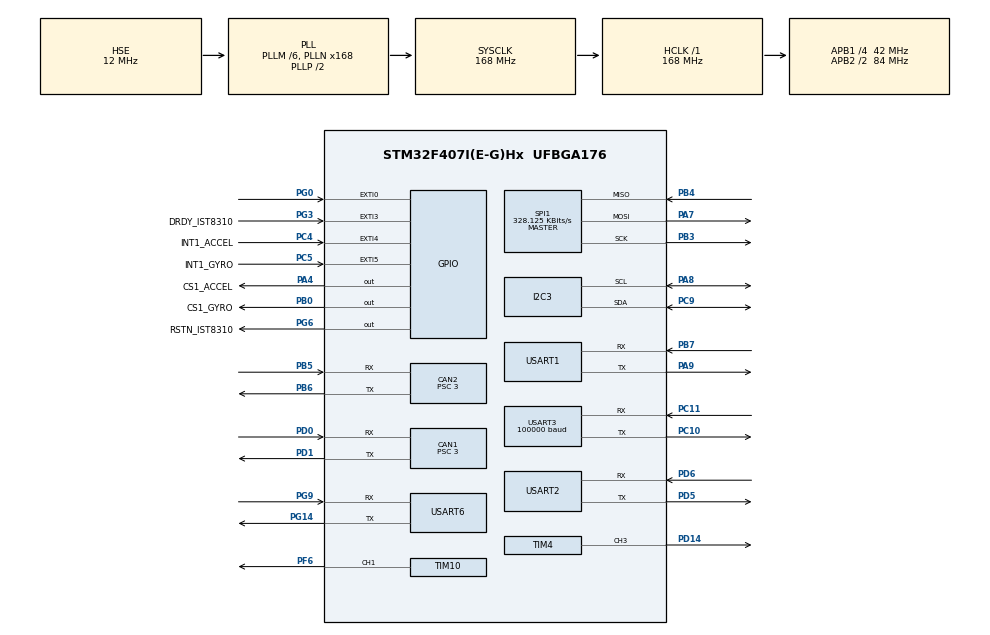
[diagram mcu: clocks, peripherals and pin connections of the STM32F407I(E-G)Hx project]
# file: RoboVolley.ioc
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CAN1.BS1=CAN_BS1_10TQ
CAN1.BS2=CAN_BS2_3TQ
CAN1.CalculateBaudRate=1000000
CAN1.CalculateTimeBit=1000
CAN1.CalculateTimeQuantum=71.42857142857143
CAN1.NART=ENABLE
CAN1.Prescaler=3
CAN1.SJW=CAN_SJW_3TQ
CAN1.TXFP=ENABLE
CAN2.BS1=CAN_BS1_10TQ
CAN2.BS2=CAN_BS2_3TQ
CAN2.CalculateBaudRate=1000000
CAN2.CalculateTimeBit=1000
CAN2.CalculateTimeQuantum=71.42857142857143
CAN2.Prescaler=3
CAN2.SJW=CAN_SJW_3TQ
Dma.Request0=USART3_RX
Dma.Request1=SPI1_RX
Dma.Request2=SPI1_TX
Dma.Request3=USART2_RX
Dma.Request4=USART2_TX
Dma.Request5=USART1_RX
Dma.Request6=USART6_RX
Dma.Request7=USART6_TX
Dma.Request8=USART1_TX
Dma.SPI1_RX.1.Direction=DMA_PERIPH_TO_MEMORY
Dma.SPI1_RX.1.FIFOMode=DMA_FIFOMODE_DISABLE
Dma.SPI1_RX.1.Instance=DMA2_Stream2
Dma.SPI1_RX.1.MemDataAlignment=DMA_MDATAALIGN_BYTE
Dma.SPI1_RX.1.MemInc=DMA_MINC_ENABLE
Dma.SPI1_RX.1.Mode=DMA_NORMAL
Dma.SPI1_RX.1.PeriphDataAlignment=DMA_PDATAALIGN_BYTE
Dma.SPI1_RX.1.PeriphInc=DMA_PINC_DISABLE
Dma.SPI1_RX.1.Priority=DMA_PRIORITY_VERY_HIGH
Dma.SPI1_TX.2.Direction=DMA_MEMORY_TO_PERIPH
Dma.SPI1_TX.2.FIFOMode=DMA_FIFOMODE_DISABLE
Dma.SPI1_TX.2.Instance=DMA2_Stream3
Dma.SPI1_TX.2.MemDataAlignment=DMA_MDATAALIGN_BYTE
Dma.SPI1_TX.2.MemInc=DMA_MINC_ENABLE
Dma.SPI1_TX.2.Mode=DMA_NORMAL
Dma.SPI1_TX.2.PeriphDataAlignment=DMA_PDATAALIGN_BYTE
Dma.SPI1_TX.2.PeriphInc=DMA_PINC_DISABLE
Dma.SPI1_TX.2.Priority=DMA_PRIORITY_HIGH
Dma.USART1_RX.5.Direction=DMA_PERIPH_TO_MEMORY
Dma.USART1_RX.5.FIFOMode=DMA_FIFOMODE_DISABLE
Dma.USART1_RX.5.Instance=DMA2_Stream5
Dma.USART1_RX.5.MemDataAlignment=DMA_MDATAALIGN_BYTE
Dma.USART1_RX.5.MemInc=DMA_MINC_ENABLE
Dma.USART1_RX.5.Mode=DMA_NORMAL
Dma.USART1_RX.5.PeriphDataAlignment=DMA_PDATAALIGN_BYTE
Dma.USART1_RX.5.PeriphInc=DMA_PINC_DISABLE
Dma.USART1_RX.5.Priority=DMA_PRIORITY_VERY_HIGH
Dma.USART1_TX.8.Direction=DMA_MEMORY_TO_PERIPH
Dma.USART1_TX.8.FIFOMode=DMA_FIFOMODE_DISABLE
Dma.USART1_TX.8.Instance=DMA2_Stream7
Dma.USART1_TX.8.MemDataAlignment=DMA_MDATAALIGN_BYTE
Dma.USART1_TX.8.MemInc=DMA_MINC_ENABLE
Dma.USART1_TX.8.Mode=DMA_NORMAL
Dma.USART1_TX.8.PeriphDataAlignment=DMA_PDATAALIGN_BYTE
Dma.USART1_TX.8.PeriphInc=DMA_PINC_DISABLE
Dma.USART1_TX.8.Priority=DMA_PRIORITY_VERY_HIGH
Dma.USART2_RX.3.Direction=DMA_PERIPH_TO_MEMORY
Dma.USART2_RX.3.FIFOMode=DMA_FIFOMODE_DISABLE
Dma.USART2_RX.3.Instance=DMA1_Stream5
Dma.USART2_RX.3.MemDataAlignment=DMA_MDATAALIGN_BYTE
Dma.USART2_RX.3.MemInc=DMA_MINC_ENABLE
Dma.USART2_RX.3.Mode=DMA_NORMAL
Dma.USART2_RX.3.PeriphDataAlignment=DMA_PDATAALIGN_BYTE
Dma.USART2_RX.3.PeriphInc=DMA_PINC_DISABLE
Dma.USART2_RX.3.Priority=DMA_PRIORITY_VERY_HIGH
Dma.USART2_TX.4.Direction=DMA_MEMORY_TO_PERIPH
Dma.USART2_TX.4.FIFOMode=DMA_FIFOMODE_DISABLE
Dma.USART2_TX.4.Instance=DMA1_Stream6
Dma.USART2_TX.4.MemDataAlignment=DMA_MDATAALIGN_BYTE
Dma.USART2_TX.4.MemInc=DMA_MINC_ENABLE
Dma.USART2_TX.4.Mode=DMA_CIRCULAR
Dma.USART2_TX.4.PeriphDataAlignment=DMA_PDATAALIGN_BYTE
Dma.USART2_TX.4.PeriphInc=DMA_PINC_DISABLE
Dma.USART2_TX.4.Priority=DMA_PRIORITY_VERY_HIGH
Dma.USART3_RX.0.Direction=DMA_PERIPH_TO_MEMORY
Dma.USART3_RX.0.FIFOMode=DMA_FIFOMODE_DISABLE
Dma.USART3_RX.0.Instance=DMA1_Stream1
Dma.USART3_RX.0.MemDataAlignment=DMA_MDATAALIGN_BYTE
Dma.USART3_RX.0.MemInc=DMA_MINC_ENABLE
Dma.USART3_RX.0.Mode=DMA_CIRCULAR
Dma.USART3_RX.0.PeriphDataAlignment=DMA_PDATAALIGN_BYTE
Dma.USART3_RX.0.PeriphInc=DMA_PINC_DISABLE
Dma.USART3_RX.0.Priority=DMA_PRIORITY_VERY_HIGH
Dma.USART6_RX.6.Direction=DMA_PERIPH_TO_MEMORY
Dma.USART6_RX.6.FIFOMode=DMA_FIFOMODE_DISABLE
Dma.USART6_RX.6.Instance=DMA2_Stream1
Dma.USART6_RX.6.MemDataAlignment=DMA_MDATAALIGN_BYTE
Dma.USART6_RX.6.MemInc=DMA_MINC_ENABLE
Dma.USART6_RX.6.Mode=DMA_NORMAL
Dma.USART6_RX.6.PeriphDataAlignment=DMA_PDATAALIGN_BYTE
Dma.USART6_RX.6.PeriphInc=DMA_PINC_DISABLE
Dma.USART6_RX.6.Priority=DMA_PRIORITY_VERY_HIGH
Dma.USART6_TX.7.Direction=DMA_MEMORY_TO_PERIPH
Dma.USART6_TX.7.FIFOMode=DMA_FIFOMODE_DISABLE
Dma.USART6_TX.7.Instance=DMA2_Stream6
Dma.USART6_TX.7.MemDataAlignment=DMA_MDATAALIGN_BYTE
Dma.USART6_TX.7.MemInc=DMA_MINC_ENABLE
Dma.USART6_TX.7.Mode=DMA_NORMAL
Dma.USART6_TX.7.PeriphDataAlignment=DMA_PDATAALIGN_BYTE
Dma.USART6_TX.7.PeriphInc=DMA_PINC_DISABLE
Dma.USART6_TX.7.Priority=DMA_PRIORITY_VERY_HIGH
FREERTOS.INCLUDE_xTaskGetHandle=1
FREERTOS.Tasks01=defaultTask,-3,128,StartDefaultTask,Default,NULL,Dynamic,NULL,NULL;Rcontrol,2,128,Buff_ReCf,Default,NULL,Dynamic,NULL,NULL;gimbalTask,1,128,gimbal,Default,NULL,Dynamic,NULL,NULL;chassisTask,0,128,chassis_task,As external,NULL,Dynamic,NULL,NULL;imuTask,3,256,INS_task,As external,NULL,Dynamic,NULL,NULL
I2C3.I2C_Mode=I2C_Fast
Mcu.Family=STM32F4
Mcu.Name=STM32F407I(E-G)Hx
Mcu.Package=UFBGA176
NVIC.CAN1_RX0_IRQn=true\:5\:0\:false\:false\:true\:true\:true\:true\:true
NVIC.CAN1_RX1_IRQn=true\:5\:0\:false\:false\:true\:true\:true\:true\:true
NVIC.CAN2_RX0_IRQn=true\:5\:0\:true\:false\:true\:true\:true\:true\:true
NVIC.DMA1_Stream1_IRQn=true\:5\:0\:false\:false\:true\:true\:false\:true\:true
NVIC.DMA1_Stream5_IRQn=true\:5\:0\:false\:false\:true\:true\:false\:true\:true
NVIC.DMA1_Stream6_IRQn=true\:5\:0\:false\:false\:true\:true\:false\:true\:true
NVIC.DMA2_Stream1_IRQn=true\:5\:0\:false\:false\:true\:true\:false\:true\:true
NVIC.DMA2_Stream2_IRQn=true\:5\:0\:false\:false\:true\:false\:false\:true\:true
NVIC.DMA2_Stream3_IRQn=true\:5\:0\:false\:false\:true\:true\:false\:true\:true
NVIC.DMA2_Stream5_IRQn=true\:5\:0\:false\:false\:true\:true\:false\:true\:true
NVIC.DMA2_Stream6_IRQn=true\:5\:0\:false\:false\:true\:true\:false\:true\:true
NVIC.DMA2_Stream7_IRQn=true\:5\:0\:false\:false\:true\:true\:false\:true\:true
NVIC.EXTI0_IRQn=true\:5\:0\:false\:false\:true\:true\:true\:true\:true
NVIC.EXTI4_IRQn=true\:5\:0\:true\:false\:true\:true\:true\:true\:true
NVIC.EXTI9_5_IRQn=true\:5\:0\:true\:false\:true\:true\:true\:true\:true
NVIC.PriorityGroup=NVIC_PRIORITYGROUP_4
NVIC.TIM6_DAC_IRQn=true\:15\:0\:false\:false\:true\:false\:false\:true\:true
NVIC.TimeBase=TIM6_DAC_IRQn
NVIC.TimeBaseIP=TIM6
NVIC.USART1_IRQn=true\:5\:0\:false\:false\:true\:true\:true\:true\:true
NVIC.USART2_IRQn=true\:5\:0\:false\:false\:true\:true\:true\:true\:true
NVIC.USART3_IRQn=true\:6\:0\:true\:false\:true\:true\:true\:true\:true
NVIC.USART6_IRQn=true\:5\:0\:false\:false\:true\:true\:true\:true\:true
PA13.Mode=Serial_Wire
PA13.Signal=SYS_JTMS-SWDIO
PA14.Mode=Serial_Wire
PA14.Signal=SYS_JTCK-SWCLK
PA4.GPIO_Label=CS1_ACCEL
PA4.GPIO_PuPd=GPIO_PULLUP
PA4.GPIO_Speed=GPIO_SPEED_FREQ_HIGH
PA4.PinState=GPIO_PIN_SET
PA4.Signal=GPIO_Output
PA7.GPIO_PuPd=GPIO_PULLUP
PA7.Mode=Full_Duplex_Master
PA7.Signal=SPI1_MOSI
PA8.GPIO_Pu=GPIO_PULLUP
PA8.Mode=I2C
PA8.Signal=I2C3_SCL
PA9.Mode=Asynchronous
PA9.Signal=USART1_TX
PB0.GPIO_Label=CS1_GYRO
PB0.GPIO_PuPd=GPIO_PULLUP
PB0.GPIO_Speed=GPIO_SPEED_FREQ_HIGH
PB0.PinState=GPIO_PIN_SET
PB0.Signal=GPIO_Output
PB3.GPIO_PuPd=GPIO_PULLUP
PB3.Mode=Full_Duplex_Master
PB3.Signal=SPI1_SCK
PB4.GPIO_PuPd=GPIO_PULLUP
PB4.Mode=Full_Duplex_Master
PB4.Signal=SPI1_MISO
PB5.Mode=CAN_Activate
PB5.Signal=CAN2_RX
PB6.Mode=CAN_Activate
PB6.Signal=CAN2_TX
PB7.Mode=Asynchronous
PB7.Signal=USART1_RX
PC10.Mode=Asynchronous
PC10.Signal=USART3_TX
PC11.Mode=Asynchronous
PC11.Signal=USART3_RX
PC4.GPIO_Label=INT1_ACCEL
PC4.GPIO_ModeDefaultEXTI=GPIO_MODE_IT_FALLING
PC4.GPIO_PuPd=GPIO_PULLUP
PC4.Signal=GPXTI4
PC5.GPIO_Label=INT1_GYRO
PC5.GPIO_ModeDefaultEXTI=GPIO_MODE_IT_FALLING
PC5.GPIO_PuPd=GPIO_PULLUP
PC5.Signal=GPXTI5
PC9.GPIO_Pu=GPIO_PULLUP
PC9.Mode=I2C
PC9.Signal=I2C3_SDA
PD0.Mode=CAN_Activate
PD0.Signal=CAN1_RX
PD1.Mode=CAN_Activate
PD1.Signal=CAN1_TX
PD14.Signal=S_TIM4_CH3
PD5.Mode=Asynchronous
PD5.Signal=USART2_TX
PD6.Mode=Asynchronous
PD6.Signal=USART2_RX
PF6.GPIO_PuPd=GPIO_PULLUP
PF6.GPIO_Speed=GPIO_SPEED_FREQ_HIGH
PF6.Signal=S_TIM10_CH1
PG0.GPIO_ModeDefaultEXTI=GPIO_MODE_IT_FALLING
PG0.GPIO_PuPd=GPIO_PULLUP
PG0.Signal=GPXTI0
PG14.Mode=Asynchronous
PG14.Signal=USART6_TX
PG3.GPIO_Label=DRDY_IST8310
PG3.GPIO_ModeDefaultEXTI=GPIO_MODE_IT_FALLING
PG3.GPIO_PuPd=GPIO_PULLUP
PG3.Signal=GPXTI3
PG6.GPIO_Label=RSTN_IST8310
PG6.GPIO_PuPd=GPIO_PULLUP
PG6.GPIO_Speed=GPIO_SPEED_FREQ_MEDIUM
PG6.PinState=GPIO_PIN_SET
PG6.Signal=GPIO_Output
PG9.Mode=Asynchronous
PG9.Signal=USART6_RX
PH0-OSC_IN.Mode=HSE-External-Oscillator
PH0-OSC_IN.Signal=RCC_OSC_IN
PH1-OSC_OUT.Mode=HSE-External-Oscillator
PH1-OSC_OUT.Signal=RCC_OSC_OUT
ProjectManager.HeapSize=0x200
ProjectManager.StackSize=0x400
ProjectManager.TargetToolchain=MDK-ARM V5.32
RCC.48MHZClocksFreq_Value=84000000
RCC.AHBFreq_Value=168000000
RCC.APB1CLKDivider=RCC_HCLK_DIV4
RCC.APB1Freq_Value=42000000
RCC.APB1TimFreq_Value=84000000
RCC.APB2CLKDivider=RCC_HCLK_DIV2
RCC.APB2Freq_Value=84000000
RCC.APB2TimFreq_Value=168000000
RCC.CortexFreq_Value=168000000
RCC.HCLKFreq_Value=168000000
RCC.HSE_VALUE=12000000
RCC.HSI_VALUE=16000000
RCC.LSE_VALUE=32768
RCC.PLLM=6
RCC.PLLN=168
RCC.PLLSourceVirtual=RCC_PLLSOURCE_HSE
RCC.SYSCLKFreq_VALUE=168000000
RCC.SYSCLKSource=RCC_SYSCLKSOURCE_PLLCLK
RCC.VCOOutputFreq_Value=336000000
SH.S_TIM10_CH1.0=TIM10_CH1,PWM Generation1 CH1
SH.S_TIM4_CH3.0=TIM4_CH3,PWM Generation3 CH3
SPI1.BaudRatePrescaler=SPI_BAUDRATEPRESCALER_256
SPI1.CLKPhase=SPI_PHASE_2EDGE
SPI1.CLKPolarity=SPI_POLARITY_HIGH
SPI1.CalculateBaudRate=328.125 KBits/s
SPI1.Direction=SPI_DIRECTION_2LINES
SPI1.Mode=SPI_MODE_MASTER
SPI1.VirtualType=VM_MASTER
TIM10.Channel=TIM_CHANNEL_1
TIM10.Period=4999
TIM4.Channel-PWM\ Generation3\ CH3=TIM_CHANNEL_3
USART1.VirtualMode=VM_ASYNC
USART2.VirtualMode=VM_ASYNC
USART3.BaudRate=100000
USART3.VirtualMode=VM_ASYNC
USART6.VirtualMode=VM_ASYNC
VP_FREERTOS_VS_CMSIS_V1.Mode=CMSIS_V1
VP_SYS_VS_tim6.Mode=TIM6
VP_TIM10_VS_ClockSourceINT.Mode=Enable_Timer
board=custom

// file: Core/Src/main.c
/* USER CODE BEGIN Header */
/**
  ******************************************************************************
  * @file           : main.c
  * @brief          : Main program body
  ******************************************************************************
  * @attention
  *
  * Copyright (c) 2025 STMicroelectronics.
  * All rights reserved.
  *
  * This software is licensed under terms that can be found in the LICENSE file
  * in the root directory of this software component.
  * If no LICENSE file comes with this software, it is provided AS-IS.
  *
  ******************************************************************************
  */
/* USER CODE END Header */
#include "main.h"
#include "cmsis_os.h"
#include "can.h"
#include "dma.h"
#include "i2c.h"
#include "spi.h"
#include "tim.h"
#include "usart.h"
#include "gpio.h"

/* USER CODE BEGIN Includes */
#include "hDBUS.h"
#include "hchassis.h"
#include "bsp_delay.h"
#include "bsp_uart.h"
/* USER CODE END Includes */

/* USER CODE BEGIN PD */
CAN_TxHeaderTypeDef txmsg;
/* USER CODE END PD */

/* USER CODE BEGIN PM */
#include "stdio.h"
#include "main.h"

/* USER CODE END PM */

void SystemClock_Config(void);
void MX_FREERTOS_Init(void);

int main(void)
{

  /* MCU Configuration--------------------------------------------------------*/

  /* Reset of all peripherals, Initializes the Flash interface and the Systick. */
  HAL_Init();

  /* Configure the system clock */
  SystemClock_Config();

  /* Initialize all configured peripherals */
  MX_GPIO_Init();
  MX_DMA_Init();
  MX_USART3_UART_Init();
  MX_CAN1_Init();
  MX_CAN2_Init();
  MX_USART1_UART_Init();
  MX_SPI1_Init();
  MX_USART2_UART_Init();
  MX_I2C3_Init();
  MX_TIM10_Init();
  MX_TIM4_Init();
  MX_USART6_UART_Init();
  /* USER CODE BEGIN 2 */
	HAL_CAN_Start(&hcan1);
	HAL_CAN_Start(&hcan2);
  delay_init();
	uart1_init();
	uart6_init();
  can_filter_init();
  /* USER CODE END 2 */

  /* Call init function for freertos objects (in cmsis_os2.c) */
  MX_FREERTOS_Init();

  /* Start scheduler */
  osKernelStart();

  /* We should never get here as control is now taken by the scheduler */

  /* Infinite loop */
  /* USER CODE BEGIN WHILE */
  while (1)
  {
printf("System started!\r\n");
	  HAL_Delay(100);
    /* USER CODE END WHILE */

  }
}

void SystemClock_Config(void)
{
  RCC_OscInitTypeDef RCC_OscInitStruct = {0};
  RCC_ClkInitTypeDef RCC_ClkInitStruct = {0};

  /** Configure the main internal regulator output voltage
  */
  __HAL_RCC_PWR_CLK_ENABLE();
  __HAL_PWR_VOLTAGESCALING_CONFIG(PWR_REGULATOR_VOLTAGE_SCALE1);

  /** Initializes the RCC Oscillators according to the specified parameters
  * in the RCC_OscInitTypeDef structure.
  */
  RCC_OscInitStruct.OscillatorType = RCC_OSCILLATORTYPE_HSE;
  RCC_OscInitStruct.HSEState = RCC_HSE_ON;
  RCC_OscInitStruct.PLL.PLLState = RCC_PLL_ON;
  RCC_OscInitStruct.PLL.PLLSource = RCC_PLLSOURCE_HSE;
  RCC_OscInitStruct.PLL.PLLM = 6;
  RCC_OscInitStruct.PLL.PLLN = 168;
  RCC_OscInitStruct.PLL.PLLP = RCC_PLLP_DIV2;
  RCC_OscInitStruct.PLL.PLLQ = 4;
  if (HAL_RCC_OscConfig(&RCC_OscInitStruct) != HAL_OK)
  {
    Error_Handler();
  }

  /** Initializes the CPU, AHB and APB buses clocks
  */
  RCC_ClkInitStruct.ClockType = RCC_CLOCKTYPE_HCLK|RCC_CLOCKTYPE_SYSCLK
                              |RCC_CLOCKTYPE_PCLK1|RCC_CLOCKTYPE_PCLK2;
  RCC_ClkInitStruct.SYSCLKSource = RCC_SYSCLKSOURCE_PLLCLK;
  RCC_ClkInitStruct.AHBCLKDivider = RCC_SYSCLK_DIV1;
  RCC_ClkInitStruct.APB1CLKDivider = RCC_HCLK_DIV4;
  RCC_ClkInitStruct.APB2CLKDivider = RCC_HCLK_DIV2;

  if (HAL_RCC_ClockConfig(&RCC_ClkInitStruct, FLASH_LATENCY_5) != HAL_OK)
  {
    Error_Handler();
  }
}

void HAL_TIM_PeriodElapsedCallback(TIM_HandleTypeDef *htim)
{
  if (htim->Instance == TIM6)
  {
    HAL_IncTick();
  }
}

void Error_Handler(void)
{
  __disable_irq();
  while (1)
  {
  }
}

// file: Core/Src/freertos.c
/* USER CODE BEGIN Header */
/**
 ******************************************************************************
 * File Name          : freertos.c
 * Description        : Code for freertos applications
 ******************************************************************************
 * @attention
 *
 * Copyright (c) 2025 STMicroelectronics.
 * All rights reserved.
 *
 * This software is licensed under terms that can be found in the LICENSE file
 * in the root directory of this software component.
 * If no LICENSE file comes with this software, it is provided AS-IS.
 *
 ******************************************************************************
 */
/* USER CODE END Header */

#include "FreeRTOS.h"
#include "task.h"
#include "main.h"
#include "cmsis_os.h"

/* USER CODE BEGIN Includes */
#include "hDBUS.h"
#include "usart.h"
#include "vofa.h"
#include "hchassis.h"
#include "stdio.h"
#include "rob2.h"
#include "chassis_task.h"
#include "INS_task.h"
#include "bsp_buzzer.h"
#include "bsp_uart.h"
// #include "hval_out.h"
/* USER CODE END Includes */

/* USER CODE BEGIN PTD */
RobStrite_Motor *motors[] = {&motor1, &motor2, &motor3, &motor4, &motor5};
const uint8_t motor_ids[] = {0x01, 0x02, 0x03, 0x04, 0x05};
/* USER CODE END PTD */

/* USER CODE BEGIN Variables */
osThreadId imuTaskHandle;

/* USER CODE END Variables */
osThreadId defaultTaskHandle;
osThreadId RcontrolHandle;
osThreadId gimbalTaskHandle;
osThreadId chassisTaskHandle;
osThreadId imuTaskHandle;

void StartDefaultTask(void const *argument);
void Buff_ReCf(void const *argument);
void gimbal(void const *argument);
extern void chassis_task(void const *argument);
extern void INS_task(void const *argument);

void MX_FREERTOS_Init(void); /* (MISRA C 2004 rule 8.1) */

/* GetIdleTaskMemory prototype (linked to static allocation support) */
void vApplicationGetIdleTaskMemory(StaticTask_t **ppxIdleTaskTCBBuffer, StackType_t **ppxIdleTaskStackBuffer, uint32_t *pulIdleTaskStackSize);

/* USER CODE BEGIN GET_IDLE_TASK_MEMORY */
static StaticTask_t xIdleTaskTCBBuffer;
static StackType_t xIdleStack[configMINIMAL_STACK_SIZE];

void vApplicationGetIdleTaskMemory(StaticTask_t **ppxIdleTaskTCBBuffer, StackType_t **ppxIdleTaskStackBuffer, uint32_t *pulIdleTaskStackSize)
{
	*ppxIdleTaskTCBBuffer = &xIdleTaskTCBBuffer;
	*ppxIdleTaskStackBuffer = &xIdleStack[0];
	*pulIdleTaskStackSize = configMINIMAL_STACK_SIZE;
	/* place for user code */
}
/* USER CODE END GET_IDLE_TASK_MEMORY */

void MX_FREERTOS_Init(void)
{

  /* definition and creation of Rcontrol */
  osThreadDef(Rcontrol, Buff_ReCf, osPriorityHigh, 0, 256);
  RcontrolHandle = osThreadCreate(osThread(Rcontrol), NULL);

  /* definition and creation of gimbalTask */
  osThreadDef(gimbalTask, gimbal, osPriorityIdle, 0, 512);
  gimbalTaskHandle = osThreadCreate(osThread(gimbalTask), NULL);

	/* definition and creation of chassisTask */
	osThreadDef(chassisTask, chassis_task, osPriorityNormal, 0, 128);
	chassisTaskHandle = osThreadCreate(osThread(chassisTask), NULL);

	/* definition and creation of imuTask */
	osThreadDef(imuTask, INS_task, osPriorityRealtime, 0, 256);
	imuTaskHandle = osThreadCreate(osThread(imuTask), NULL);

}

void StartDefaultTask(void const *argument)
{
	for (;;)
	{
		osDelay(1);
	}
}

void Buff_ReCf(void const *argument)
{
	/* USER CODE BEGIN Buff_ReCf */
	/* Infinite loop */
	DBUS_decode_val.isenable = 0;
	static BuzzerState buzzer_state = BUZZER_STATE_IDLE;
	TickType_t xUpTime = xTaskGetTickCount();
	static uint32_t buzzer_start_tick = 0;
	HAL_UART_Receive_IT(&huart3, DBUS_buff, BUFF_LEN);
	HAL_UARTEx_ReceiveToIdle_DMA(&huart1, uart1_rx_buffer, sizeof(uart1_rx_buffer));
	HAL_UARTEx_ReceiveToIdle_DMA(&huart6, uart6_rx_buffer, sizeof(uart6_rx_buffer));
	// HAL_UARTEx_ReceiveToIdle_IT(&huart3,DBUS_buff,sizeof(DBUS_buff));
	while (1)
	{
		DBUS_decode_val.key = 0;
		osDelay(40);
		if (DBUS_decode_val.key == 0 && DBUS_decode_val.mod == 1)
		{
			DBUS_decode_val.mod = 0;
			// 关电机
			shut_up();
			DBUS_decode_val.control_mode = 0;
			DBUS_decode_val.pitch = 0;
			DBUS_decode_val.isenable = 0;

			for (int i = 0; i < 5; i++)
			{
				Disenable_Motor(motors[i], 0);
				osDelay(1);
			}
		}
		else if (DBUS_decode_val.key == 1 && DBUS_decode_val.mod == 0)
		{
			DBUS_decode_val.mod = 1;
			DBUS_decode_val.control_mode = 0;
			// 开电机

			RobStrite_Motor_Init(&motor4, 0x04);
			osDelay(2);
			RobStrite_Motor_Init(&motor1, 0x01);
			RobStrite_Motor_Init(&motor2, 0x02);
			RobStrite_Motor_Init(&motor3, 0x03);
			RobStrite_Motor_Init(&motor5, 0x05);

			Set_RobStrite_Motor_parameter(&motor4, 0x7005, 5, Set_mode);
			osDelay(1);

			Set_RobStrite_Motor_parameter(&motor1, 0x7005, 5, Set_mode);
			Set_RobStrite_Motor_parameter(&motor2, 0x7005, 5, Set_mode);
			osDelay(1);
			Set_RobStrite_Motor_parameter(&motor3, 0x7005, 5, Set_mode);
			Set_RobStrite_Motor_parameter(&motor5, 0x7005, 5, Set_mode);
			osDelay(2);
           // Set_ZeroPos(&motor2);
			//osDelay(1);
            //RobStrite_Motor_Pos_control(&motor2, 1, 0.007);//电机位置补偿
			//osDelay(100);
			//for(int i=0;i<5;i++)
			//{
			Enable_Motor(&motor4);
			//Set_ZeroPos(&motor5);
			osDelay(1);

			Set_ZeroPos(&motor5);
			Set_ZeroPos(&motor1);
			Set_ZeroPos(&motor2);
			//Set_ZeroPos_compen(&motor2);
			Set_ZeroPos(&motor3);
			DBUS_decode_val.pitch = 0;
			pid_init();
			// HAL_UARTEx_ReceiveToIdle_DMA(&huart1, uart1_rx_buffer, sizeof(uart1_rx_buffer));
		}
		if (DBUS_decode_val.control_mode != 0 && DBUS_decode_val.isenable == 0)
		{
			for (int i = 0; i < 3; i++)
			{
				RobStrite_Motor_Pos_control(motors[i], 0.5, 0.02);
			}
			RobStrite_Motor_Pos_control(&motor5, 4.0, 0.0); // 要确认下正负
			osDelay(2);
			DBUS_decode_val.isenable = 1;
		}
		osDelay(10);
		if (DBUS_decode_val.key == 1)
		{
			switch (DBUS_decode_val.sw[0])
			{
			case 1:
				DBUS_decode_val.control_mode = 2; // 上位机控制模式
				break;
			case 2:
				DBUS_decode_val.control_mode = 0; // 关机
				break;
			case 3:
				DBUS_decode_val.control_mode = 1; // 遥控器控制模式
				break;
			default:
				break;
			}
		}
	}

	/* USER CODE END Buff_ReCf */
}

void gimbal(void const *argument)
{
	/* USER CODE BEGIN gimbal */
	/* Infinite loop */
	TickType_t xLastWakeTime = xTaskGetTickCount();
	int delay_tag = 0;
	int juggle = 0;
	double motor_angle = 0.007;
	double motor_vec = 1.0;
	double final_pitch = 0.0;
	double shot_ball_angle = 1.50; // 要确认正负

	while (1)
	{
		if (DBUS_decode_val.control_mode == 1) // 遥控器控制
		{
			DBUS_decode_val.pitch += (-0.000040f * DBUS_decode_val.rocker[1]);
			DBUS_decode_val.pitch = (DBUS_decode_val.pitch > 0.1) ? 0.1 : ((DBUS_decode_val.pitch < -0.8) ? -0.8 : DBUS_decode_val.pitch);
			//将遥控器值映射到pitch轴角度

			if(DBUS_decode_val.sw[1] !=2) // 初次进入对颠球模式将云台前倾,后续pitch受遥控器控制，发球板保持竖直不动
			{
				if(juggle == 0)
				{
					juggle = 1;
					DBUS_decode_val.pitch = -0.45;
				}
				shot_ball_angle = 0;
				final_pitch = DBUS_decode_val.pitch;
			}

			RobStrite_Motor_Pos_control(&motor4, 4.0, final_pitch);
			osDelay(1);
			RobStrite_Motor_Pos_control(&motor5, 56.0, shot_ball_angle);
			osDelay(1);

			RobStrite_3Motor_simully_Pos_control(&motor1, &motor2, &motor3, motor_vec, motor_angle);
			osDelay(1);
			switch (delay_tag)
			{
					case 0: // 默认状态
							if (DBUS_decode_val.sw[1] == 2) // 在发球模式默认状态在限位处
							{
									motor_angle = 0.007;
									motor_vec = 4;
									final_pitch = 0;
									shot_ball_angle = 1.50;
						}
							else if (DBUS_decode_val.sw[1] != 2) // 在对颠球模式默认状态比限位高一些
							{
									motor_angle = 0.04;
									motor_vec = 8;
									final_pitch = 0;
									shot_ball_angle = 0;
							}
							break;

					case 1: // 低速出限位一点
							motor_angle = 0.04;
							motor_vec = 1;
							final_pitch = 0;
							xLastWakeTime = xTaskGetTickCount();
							delay_tag = 2;
							break;

					case 2: // 等待25ms电机运行到指定角度
							if (xTaskGetTickCount() - xLastWakeTime >= pdMS_TO_TICKS(25)) // 非阻塞式delay
									delay_tag = 3;  // 状态转移 25ms
							break;

					case 3: // 高速击球
							if (DBUS_decode_val.sw[1] == 2) // 在发球模式速度、角度较低
							{
								motor_angle = 0.25;
								motor_vec = 8;
								final_pitch = 0;
							}
							else if (DBUS_decode_val.sw[1] == 3) // 在对颠球模式速度、角度较高
							{
									motor_angle = 0.57;//板恰好高出三个立柱
									motor_vec = 24;
									shot_ball_angle = 0;
							}
							else if (DBUS_decode_val.sw[1] == 1)
							{
								motor_angle = 0.3;
								motor_vec = 12;
							}
							xLastWakeTime = xTaskGetTickCount();
							delay_tag = 4;
							break;

					case 4: // 等待175ms电机运行到指定角度
							if (xTaskGetTickCount() - xLastWakeTime >= pdMS_TO_TICKS(175))
							{
								if(DBUS_decode_val.sw[1] !=2) // 对颠球模式直接回默认状态
									delay_tag = 0;
								else if(DBUS_decode_val.sw[1] == 2) // 进入发球状态
									delay_tag = 5;
							}
							break;

					case 5: // 回到发球默认状态并将云台向前倾一定角度，防止被发球板打到
 							motor_angle = 0.007;
							motor_vec = 8;
							final_pitch = -0.80;
							xLastWakeTime = xTaskGetTickCount();
							delay_tag = 6;
							break;

					case 6: // 等待120ms电机运行到指定角度、排球落到合适的击球点
							if (xTaskGetTickCount() - xLastWakeTime >= pdMS_TO_TICKS(120))
									delay_tag = 7;
							break;

					case 7: // 击球
							shot_ball_angle = -2.90; // 要确认正负
							xLastWakeTime = xTaskGetTickCount();
							delay_tag = 8;
							break;

					case 8: // 等待75ms击球完成
							if (xTaskGetTickCount() - xLastWakeTime >= pdMS_TO_TICKS(250))
									delay_tag = 9;
							break;

					case 9: // 击球板回原位
							shot_ball_angle = 1.50;
							xLastWakeTime = xTaskGetTickCount();
							delay_tag = 10;
							break;

					case 10: // 等待电机复位
							if (xTaskGetTickCount() - xLastWakeTime >= pdMS_TO_TICKS(3000))
									delay_tag = 0;
							//osDelay (5000);
							break;

					default:
							break;
			}

			if (DBUS_decode_val.roll >= 600 && delay_tag == 0)
			{
				delay_tag = 1;
			}
			osDelay(3);
		}
		else if (DBUS_decode_val.control_mode == 2) // 上位机控制,发球不用上位机控制
		{
			float final_pitch = (PossiBuffRcf.Pitch > 0.1) ? 0.1 : ((PossiBuffRcf.Pitch < -0.8) ? -0.8 : PossiBuffRcf.Pitch);
			shot_ball_angle = 0;
			RobStrite_Motor_Pos_control(&motor4, 4.0, final_pitch);
			osDelay(1);
			RobStrite_Motor_Pos_control(&motor5, 1.0, shot_ball_angle);
			osDelay(1);
			RobStrite_3Motor_simully_Pos_control(&motor1, &motor2, &motor3, motor_vec, motor_angle);
			osDelay(1);
			switch (delay_tag)
			{
					case 0: // 默认状态
							motor_angle = 0.04;
							motor_vec = 16;
							final_pitch = 0;
							shot_ball_angle = 0;
							break;

					case 1: // 高速击球
							motor_angle = 0.57;
							motor_vec = 24;
							final_pitch = 0;
							xLastWakeTime = xTaskGetTickCount();
							delay_tag = 2;
							break;

					case 2: // 等待175ms电机运行到指定角度
							if (xTaskGetTickCount() - xLastWakeTime >= pdMS_TO_TICKS(175))
									delay_tag = 0; // 回默认状态
							break;

					default:
							break;
			}

			if (PossiBuffRcf.Shot == 1 && delay_tag == 0)
			{
				delay_tag = 1;

			}
			osDelay(3);
		}
		else if (DBUS_decode_val.control_mode == 0)
		{
			if (delay_tag != 0)
			{
				delay_tag = 0;
				motor_angle = 0.007;
				motor_vec = 1;
				RobStrite_3Motor_simully_Pos_control(&motor1, &motor2, &motor3, motor_vec, motor_angle);
			}

		}
	}
	/* USER CODE END gimbal */
}
